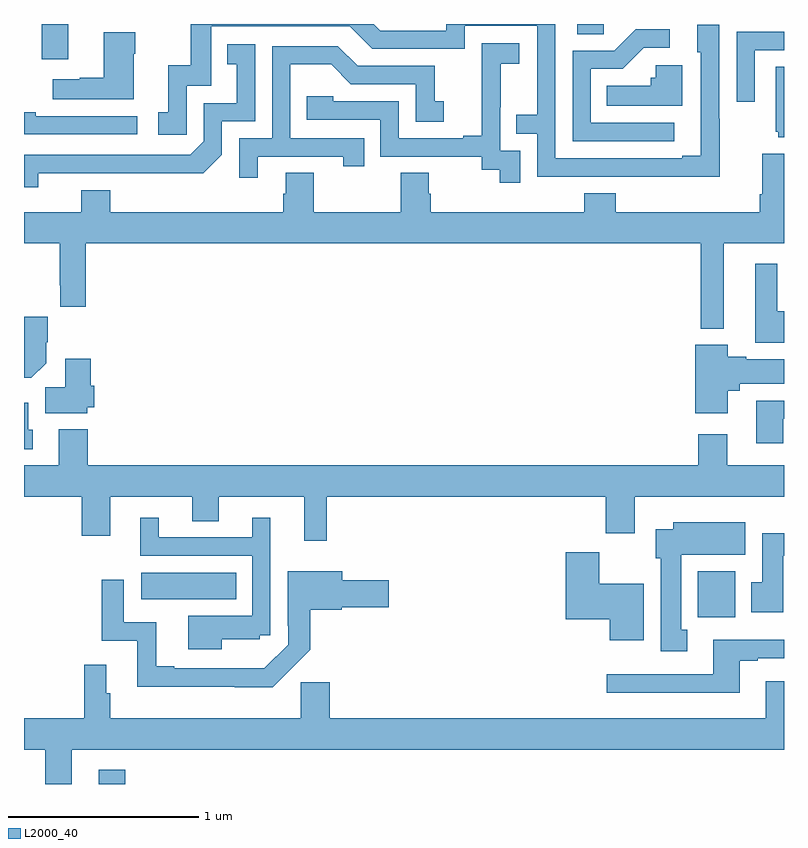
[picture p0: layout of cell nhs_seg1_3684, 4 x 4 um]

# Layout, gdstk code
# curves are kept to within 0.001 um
import gdstk
lib = gdstk.Library(unit=1e-6, precision=1e-09)
def R(c, l, rs):  # rectangles x0, y0, x1, y1
    for r in rs: c.add(gdstk.rectangle(r[:2], r[2:], *l))
def P(c, l, *ps):  # polygons
    for p in ps: c.add(gdstk.Polygon(p, *l))
L2000_40 = (2000, 40)

nhs_seg1_3684 = lib.new_cell('nhs_seg1_3684')
R(nhs_seg1_3684, L2000_40, [(311.393,570.199,311.534,570.274), (314.546,571.076,314.743,571.318), (311.616,571.172,312.116,571.312), (311.093,574.014,311.233,574.199), (313.913,574.144,314.052,574.199)])
P(nhs_seg1_3684, L2000_40, [(314.661,573.701),(314.658,573.701),(314.658,574.195),(314.543,574.195),(314.543,574.05),(314.562,574.05),(314.561,573.505),(314.465,573.505),(314.465,573.492),(313.797,573.492),(313.797,574.199),(313.223,574.199),(313.223,574.164),(312.876,574.164),(312.841,574.199),(311.877,574.199),(311.877,573.982),(311.759,573.982),(311.759,573.735),(311.706,573.735),(311.706,573.615),(311.856,573.615),(311.856,573.873),(311.985,573.873),(311.985,574.188),(312.714,574.188),(312.834,574.068),(313.32,574.068),(313.32,574.191),(313.701,574.191),(313.701,573.722),(313.591,573.722),(313.591,573.621),(313.701,573.621),(313.701,573.396),(314.661,573.395)],
  [(314.422,573.678),(313.983,573.678),(313.983,573.963),(314.152,573.963),(314.263,574.074),(314.398,574.074),(314.398,574.172),(314.219,574.172),(314.106,574.059),(313.887,574.059),(313.887,573.582),(314.422,573.582)],
  [(314.847,574.062),(315,574.062),(315,574.158),(314.751,574.158),(314.751,573.789),(314.847,573.789)],
  [(311.578,574.043),(311.586,574.043),(311.586,574.156),(311.42,574.156),(311.42,573.917),(311.294,573.917),(311.294,573.907),(311.151,573.907),(311.151,573.803),(311.578,573.803)],
  [(313.611,573.531),(313.506,573.531),(313.506,573.761),(313.508,573.761),(313.508,573.989),(313.606,573.989),(313.606,574.099),(313.408,574.099),(313.408,573.893),(313.409,573.893),(313.409,573.61),(313.313,573.61),(313.313,573.597),(312.972,573.597),(312.972,573.792),(312.627,573.792),(312.627,573.819),(312.487,573.819),(312.487,573.696),(312.876,573.696),(312.876,573.501),(313.41,573.501),(313.41,573.433),(313.503,573.433),(313.503,573.363),(313.611,573.363)],
  [(311.076,573.414),(311.944,573.413),(312.042,573.51),(312.042,573.687),(312.216,573.687),(312.216,574.093),(312.07,574.093),(312.07,573.987),(312.119,573.987),(312.119,573.783),(311.946,573.783),(311.946,573.582),(311.874,573.51),(311,573.51),(311,573.341),(311.076,573.341)],
  [(312.229,573.501),(312.68,573.501),(312.68,573.45),(312.791,573.45),(312.791,573.597),(312.402,573.597),(312.402,573.986),(312.616,573.986),(312.72,573.882),(313.062,573.882),(313.062,573.684),(313.21,573.684),(313.21,573.793),(313.161,573.793),(313.161,573.978),(312.757,573.978),(312.652,574.083),(312.306,574.083),(312.306,573.597),(312.132,573.597),(312.132,573.39),(312.229,573.39)],
  [(314.464,573.982),(314.325,573.982),(314.325,573.915),(314.299,573.915),(314.299,573.874),(314.068,573.874),(314.068,573.77),(314.464,573.77)],
  [(315,573.973),(314.957,573.973),(314.957,573.633),(314.969,573.633),(314.969,573.602),(315,573.602)],
  [(311.596,573.714),(311.063,573.714),(311.063,573.734),(311,573.734),(311,573.618),(311.596,573.618)],
  [(314.683,573.044),(315,573.044),(315,573.517),(314.885,573.517),(314.885,573.304),(314.873,573.304),(314.873,573.208),(314.114,573.208),(314.114,573.307),(313.949,573.307),(313.949,573.208),(313.142,573.208),(313.142,573.306),(313.129,573.306),(313.129,573.416),(312.982,573.416),(312.982,573.208),(312.525,573.208),(312.525,573.416),(312.377,573.416),(312.377,573.306),(312.365,573.306),(312.365,573.208),(311.453,573.208),(311.453,573.325),(311.3,573.325),(311.3,573.208),(311,573.208),(311,573.044),(311.188,573.044),(311.188,572.824),(311.192,572.824),(311.192,572.712),(311.324,572.712),(311.324,573.044),(314.562,573.044),(314.562,572.596),(314.683,572.596)],
  [(315,572.686),(314.965,572.686),(314.965,572.938),(314.849,572.938),(314.849,572.522),(315,572.522)],
  [(311.116,572.414),(311.116,572.524),(311.126,572.524),(311.126,572.659),(311,572.659),(311,572.336),(311.038,572.336)],
  [(314.704,572.27),(314.767,572.27),(314.767,572.306),(315,572.306),(315,572.434),(314.8,572.434),(314.8,572.447),(314.704,572.447),(314.704,572.511),(314.534,572.511),(314.534,572.151),(314.704,572.151)],
  [(311.334,572.181),(311.369,572.181),(311.369,572.295),(311.351,572.295),(311.351,572.437),(311.216,572.437),(311.216,572.288),(311.111,572.288),(311.111,572.15),(311.334,572.15)],
  [(314.995,572.121),(315,572.121),(315,572.217),(314.855,572.217),(314.855,571.992),(314.995,571.992)],
  [(311.047,572.064),(311.023,572.064),(311.023,572.206),(311,572.206),(311,571.962),(311.047,571.962)],
  [(312.593,571.712),(314.063,571.712),(314.063,571.518),(314.215,571.518),(314.215,571.712),(315,571.712),(315,571.876),(314.701,571.876),(314.701,572.041),(314.549,572.041),(314.549,571.876),(311.336,571.876),(311.336,572.065),(311.183,572.065),(311.183,571.876),(311,571.876),(311,571.712),(311.303,571.712),(311.303,571.506),(311.455,571.506),(311.455,571.712),(311.885,571.712),(311.885,571.582),(312.025,571.582),(312.025,571.712),(312.476,571.712),(312.476,571.479),(312.593,571.479)],
  [(312.04,570.962),(312.24,570.962),(312.24,570.981),(312.297,570.981),(312.297,571.6),(312.2,571.6),(312.2,571.497),(311.71,571.497),(311.71,571.6),(311.612,571.6),(311.612,571.401),(312.201,571.401),(312.201,571.084),(311.864,571.084),(311.864,570.908),(312.04,570.908)],
  [(314.491,571.01),(314.458,571.01),(314.458,571.406),(314.797,571.406),(314.797,571.576),(314.417,571.576),(314.417,571.54),(314.324,571.54),(314.324,571.386),(314.351,571.386),(314.351,570.897),(314.491,570.897)],
  [(314.995,571.4),(315,571.4),(315,571.518),(314.885,571.518),(314.885,571.26),(314.828,571.26),(314.828,571.104),(314.995,571.104)],
  [(314.263,571.252),(314.028,571.252),(314.028,571.42),(313.85,571.42),(313.85,571.067),(314.084,571.067),(314.084,570.956),(314.263,570.956)],
  [(312.506,570.905),(312.506,571.117),(312.672,571.117),(312.672,571.13),(312.919,571.13),(312.919,571.272),(312.676,571.272),(312.676,571.318),(312.387,571.318),(312.387,571.033),(312.39,571.033),(312.39,570.933),(312.265,570.808),(311.791,570.807),(311.791,570.82),(311.695,570.82),(311.695,571.05),(311.526,571.05),(311.526,571.273),(311.41,571.273),(311.41,570.954),(311.597,570.954),(311.597,570.71),(312.109,570.71),(312.109,570.708),(312.308,570.708)],
  [(314.767,570.849),(314.863,570.849),(314.863,570.861),(315,570.861),(315,570.958),(314.627,570.958),(314.627,570.777),(314.067,570.777),(314.067,570.68),(314.767,570.68)],
  [(311.251,570.38),(315,570.38),(315,570.739),(314.903,570.739),(314.903,570.544),(312.608,570.544),(312.608,570.735),(312.457,570.735),(312.457,570.544),(311.453,570.544),(311.453,570.677),(311.434,570.677),(311.434,570.826),(311.317,570.826),(311.317,570.544),(311,570.544),(311,570.38),(311.111,570.38),(311.111,570.199),(311.251,570.199)])

lib.write_gds('nhs_seg1_3684.gds')
